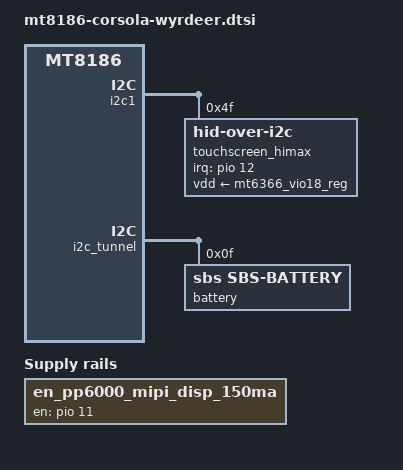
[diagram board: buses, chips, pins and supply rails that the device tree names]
// SPDX-License-Identifier: (GPL-2.0 OR MIT)
/*
 * Copyright 2025 Google LLC
 */

/dts-v1/;
#include "mt8186-corsola-starmie.dtsi"

/ {
	en_pp6000_mipi_disp_150ma: en-pp6000-mipi-disp-150ma {
		compatible = "regulator-fixed";
		regulator-name = "en_pp6000_mipi_disp_150ma";
		gpio = <&pio 11 GPIO_ACTIVE_HIGH>;
		enable-active-high;
		pinctrl-names = "default";
		pinctrl-0 = <&pp6000_mipi_disp_150ma_fixed_pins>;
	};
};

&i2c1 {
	/delete-node/ touchscreen@41;
	touchscreen_himax: touchscreen@4f {
		compatible = "hid-over-i2c";
		reg = <0x4f>;
		interrupt-parent = <&pio>;
		interrupts = <12 IRQ_TYPE_LEVEL_LOW>;
		pinctrl-names = "default";
		pinctrl-0 = <&touchscreen_pins>;
		vdd-supply = <&mt6366_vio18_reg>;
		panel = <&panel>;
		post-power-on-delay-ms = <450>;
		hid-descr-addr = <0x0001>;
	};
};

&i2c_tunnel {
	/delete-node/ sbs-battery@b;

	battery: sbs-battery@f {
		compatible = "sbs,sbs-battery";
		reg = <0xf>;
		sbs,i2c-retry-count = <2>;
		sbs,poll-retry-count = <1>;
	};
};

&pio{
	pp6000_mipi_disp_150ma_fixed_pins: pp6000-mipi-disp-150ma-fixed-pins {
		pins1 {
			pinmux = <PINMUX_GPIO11__FUNC_GPIO11>;
			output-low;
		};
	};
};

&mipi_tx0 {
	drive-strength-microamp = <5700>;
};
